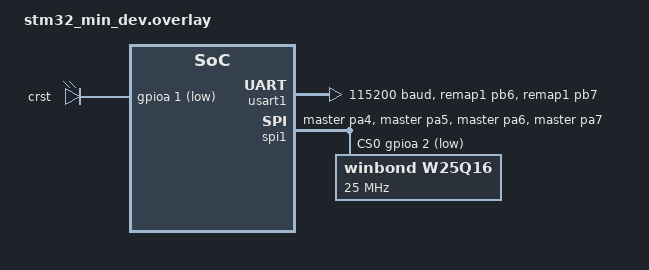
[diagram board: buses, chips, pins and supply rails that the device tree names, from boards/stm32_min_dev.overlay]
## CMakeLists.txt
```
#-------------------------------------------------------------------------------
# Zephyr Example Application
#
# Copyright (c) 2021 Nordic Semiconductor ASA
# SPDX-License-Identifier: Apache-2.0

cmake_minimum_required(VERSION 3.13.1)
find_package(Zephyr REQUIRED HINTS $ENV{ZEPHYR_BASE})

project(app LANGUAGES C)

target_sources(app PRIVATE 
	src/main.c
	src/hid_device.c
	src/usbd_init.c
	src/w25q16_hal.c
)
```

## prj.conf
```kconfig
CONFIG_SPI=y

CONFIG_USB_DEVICE_STACK_NEXT=y
CONFIG_CDC_ACM_SERIAL_INITIALIZE_AT_BOOT=n
CONFIG_USBD_HID_SUPPORT=y
CONFIG_INPUT=y

CONFIG_MAIN_STACK_SIZE=1024
CONFIG_SYSTEM_WORKQUEUE_STACK_SIZE=1024
```

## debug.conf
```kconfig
CONFIG_LOG=y
CONFIG_SERIAL=y
CONFIG_CONSOLE=y
CONFIG_UART_CONSOLE=y
```

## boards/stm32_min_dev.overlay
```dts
/ {
	chosen {
		zephyr,console = &usart1;
		zephyr,shell-uart = &usart1;
		zephyr,osdp-uart = &usart2;
		zephyr,sram = &sram0;
		zephyr,flash = &flash0;
	};

	leds {
		crst: led {
			gpios = <&gpioa 1 GPIO_ACTIVE_LOW>;
		};
	};

	hid_dev_0: hid_dev_0 {
		compatible = "zephyr,hid-device";
		label = "HID0";
		protocol-code = "none";
		in-polling-period-us = <1000>;
		in-report-size = <64>;
	};

};

&clk_hse {
	status="disabled";
};

&clk_hsi {
	status="okay";
};

&pll {
	mul = <12>;
	clocks = <&clk_hsi>;
	status="okay";
	usbpre;
};

&rcc {
	clocks = <&pll>;
	clock-frequency = <DT_FREQ_M(48)>;
};

&usart1 {
	pinctrl-0 = <&usart1_tx_remap1_pb6 &usart1_rx_remap1_pb7>;
	current-speed = <115200>;
	pinctrl-names = "default";
	status = "okay";
};

&spi1 {
	pinctrl-0 = <&spi1_nss_master_pa4 &spi1_sck_master_pa5
		&spi1_miso_master_pa6 &spi1_mosi_master_pa7>;

	pinctrl-names = "default";
	status = "okay";

	cs-gpios = <&gpioa 2 GPIO_ACTIVE_LOW>;

	w25q16: spi-nor-flash@0 {
		compatible = "winbond,w25q16";
		spi-max-frequency = <25000000>;
		reg = <0>;
	};

};
```

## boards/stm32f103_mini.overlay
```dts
&clk_hse {
	status = "disabled";
};

&clk_hsi {
	status = "okay";
};

&pll {
	clocks = <&clk_hsi>;
};
```

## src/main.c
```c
#include <zephyr/device.h>
#include <zephyr/drivers/gpio.h>
#include <zephyr/kernel.h>
#include <zephyr/logging/log.h>
#include <zephyr/usb/usbd.h>

#include "hid_device.h"
#include "usbd_init.h"
#include "w25q16_hal.h"

LOG_MODULE_REGISTER(main);

/* Device tree node labels */
#define RESET_PIN_NODE DT_NODELABEL(crst)
#define FLASH_NODE DT_NODELABEL(w25q16)

/* SPI operation configuration */
#define SPI_OP_CONFIG (SPI_OP_MODE_MASTER | SPI_WORD_SET(8))

/* Timing constants */
#define RESET_PULSE_MS 2
#define IDLE_SLEEP_MS 1000

#if !DT_NODE_HAS_STATUS(FLASH_NODE, okay)
#error "Flash device w25q16 devicetree node not found or disabled"
#endif

/* Static device configurations */
static struct gpio_dt_spec reset_pin = GPIO_DT_SPEC_GET(RESET_PIN_NODE, gpios);
static struct flash_config flash_dev = {
    .dev = SPI_DT_SPEC_GET(FLASH_NODE, SPI_OP_CONFIG),
};

/**
 * @brief Initialize the FPGA reset pin
 *
 * @return 0 on success, negative errno on failure
 */
static int init_reset_pin(void) {
  int err;

  err = gpio_pin_configure_dt(&reset_pin, GPIO_OUTPUT_ACTIVE);
  if (err) {
    LOG_ERR("Failed to configure reset pin: %d", err);
    return err;
  }

  LOG_DBG("Reset pin configured successfully");
  return 0;
}

/**
 * @brief Perform FPGA reset sequence and initialize flash
 */
static void init_flash_device(void) {
  /* Assert reset */
  gpio_pin_set_dt(&reset_pin, 1);
  k_msleep(RESET_PULSE_MS);

  /* Initialize flash communication */
  flash_reset(&flash_dev);
  flash_read_id(&flash_dev);

  /* Release reset */
  gpio_pin_set_dt(&reset_pin, 0);

  LOG_INF("Flash device initialized");
}

/**
 * @brief Initialize USB device subsystem
 *
 * @return Pointer to USB context on success, NULL on failure
 */
static struct usbd_context *init_usb_device(void) {
  struct usbd_context *usbd_ctx;
  int err;

  usbd_ctx = flasher_usbd_init_device(NULL);
  if (!usbd_ctx) {
    LOG_ERR("Failed to initialize USB device");
    return NULL;
  }

  err = usbd_enable(usbd_ctx);
  if (err) {
    LOG_ERR("Failed to enable USB device: %d", err);
    return NULL;
  }

  LOG_INF("USB device enabled");
  return usbd_ctx;
}

int main(void) {
  int err;

  LOG_INF("ICE40 Flasher starting...");

  /* Initialize HID device */
  err = hid_device_init();
  if (err) {
    LOG_ERR("HID initialization failed: %d", err);
    return err;
  }

  /* Initialize and enable USB */
  if (!init_usb_device()) {
    return -EIO;
  }

  /* Initialize reset pin */
  err = init_reset_pin();
  if (err) {
    return err;
  }

  /* Initialize flash device */
  init_flash_device();

  LOG_INF("System ready - HID interface active");

  /* Main idle loop */
  while (1) {
    k_msleep(IDLE_SLEEP_MS);
  }

  return 0;
}
```

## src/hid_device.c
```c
#include "hid_device.h"

#include <zephyr/device.h>
#include <zephyr/logging/log.h>
#include <zephyr/usb/class/usbd_hid.h>

LOG_MODULE_REGISTER(hid_device);

#define REPORT_SIZE_BYTES 64

/* HID Report Descriptor for vendor-defined interface */
static const uint8_t hid_report_desc[] = {
    0x06, 0x00, 0xFF, /* USAGE_PAGE (Vendor Defined 0xFF00) */
    0x09, 0x01,       /* USAGE (Vendor Usage 1) */
    0xA1, 0x01,       /* COLLECTION (Application) */

    /* OUT report: host -> device */
    0x09, 0x02,              /*   USAGE (Vendor Usage 2) */
    0x15, 0x00,              /*   LOGICAL_MINIMUM (0) */
    0x26, 0xFF, 0x00,        /*   LOGICAL_MAXIMUM (255) */
    0x75, 0x08,              /*   REPORT_SIZE (8 bits) */
    0x95, REPORT_SIZE_BYTES, /*   REPORT_COUNT (64 bytes) */
    0x91, 0x02,              /*   OUTPUT (Data,Var,Abs) */

    /* IN report: device -> host */
    0x09, 0x03,              /*   USAGE (Vendor Usage 3) */
    0x15, 0x00,              /*   LOGICAL_MINIMUM (0) */
    0x26, 0xFF, 0x00,        /*   LOGICAL_MAXIMUM (255) */
    0x75, 0x08,              /*   REPORT_SIZE (8 bits) */
    0x95, REPORT_SIZE_BYTES, /*   REPORT_COUNT (64 bytes) */
    0x81, 0x02,              /*   INPUT (Data,Var,Abs) */

    0xC0 /* END_COLLECTION */
};

/**
 * @brief Callback when HID interface becomes ready or not ready
 */
static void hid_iface_ready(const struct device *dev, const bool ready) {
  LOG_INF("HID device %s interface is %s", dev->name,
          ready ? "ready" : "not ready");
}

/**
 * @brief Handle GET_REPORT requests from host
 */
static int hid_get_report(const struct device *dev, const uint8_t type,
                          const uint8_t id, const uint16_t len,
                          uint8_t *const buf) {
  LOG_DBG("Get Report: Type %u ID %u Len %u", type, id, len);
  return 0;
}

/**
 * @brief Handle SET_REPORT requests from host
 */
static int hid_set_report(const struct device *dev, const uint8_t type,
                          const uint8_t id, const uint16_t len,
                          const uint8_t *const buf) {
  LOG_INF("Set Report: Type %u ID %u Len %u", type, id, len);
  LOG_HEXDUMP_INF(buf, len, "HID OUT data:");
  return 0;
}

static const struct hid_device_ops hid_ops = {
    .iface_ready = hid_iface_ready,
    .get_report = hid_get_report,
    .set_report = hid_set_report,
};

int hid_device_init(void) {
  const struct device *hid_dev = DEVICE_DT_GET(DT_NODELABEL(hid_dev_0));
  int err;

  if (!device_is_ready(hid_dev)) {
    LOG_ERR("HID device not ready");
    return -ENODEV;
  }

  err = hid_device_register(hid_dev, hid_report_desc, sizeof(hid_report_desc),
                            &hid_ops);
  if (err) {
    LOG_ERR("Failed to register HID device: %d", err);
    return err;
  }

  LOG_INF("HID device initialized successfully");
  return 0;
}
```

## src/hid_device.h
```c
/**
 * @file hid_device.h
 * @brief HID device configuration and interface for ICE40 Flasher
 */

#ifndef HID_DEVICE_H
#define HID_DEVICE_H

#include <zephyr/usb/class/usbd_hid.h>

/**
 * @brief Initialize and register the HID device
 * 
 * @return 0 on success, negative errno on failure
 */
int hid_device_init(void);

#endif /* HID_DEVICE_H */
```

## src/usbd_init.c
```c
/**
 * @file usbd_init.c
 * @brief USB Device initialization and configuration
 */

#include "usbd_init.h"

#include <stdint.h>
#include <zephyr/device.h>
#include <zephyr/logging/log.h>
#include <zephyr/usb/bos.h>
#include <zephyr/usb/usbd.h>

LOG_MODULE_REGISTER(usbd_config);

/* USB Device Identification */
#define ZEPHYR_PROJECT_USB_VID  0x2FE3
#define ZEPHYR_PROJECT_USB_PID  0x1193

/* Device strings */
#define MANUFACTURER_STRING     "Purple Petina"
#define PRODUCT_STRING          "ICE40DK Programmer"

/* Configuration attributes and power */
#define USB_MAX_POWER_MA        100

/**
 * @brief USB classes to exclude from registration
 * 
 * By default, do not register the DFU mode instance
 */
static const char *const class_blocklist[] = {
	"dfu_dfu",
	NULL,
};

/* Instantiate USB device context */
USBD_DEVICE_DEFINE(flasher_usbd,
		   DEVICE_DT_GET(DT_NODELABEL(zephyr_udc0)),
		   ZEPHYR_PROJECT_USB_VID,
		   ZEPHYR_PROJECT_USB_PID);

/* USB Descriptor definitions */
USBD_DESC_LANG_DEFINE(lang_desc);
USBD_DESC_MANUFACTURER_DEFINE(mfr_desc, MANUFACTURER_STRING);
USBD_DESC_PRODUCT_DEFINE(product_desc, PRODUCT_STRING);

USBD_DESC_CONFIG_DEFINE(fs_cfg_desc, "FS Configuration");
USBD_DESC_CONFIG_DEFINE(hs_cfg_desc, "HS Configuration");

/* Configuration attributes */
static const uint8_t config_attributes =
	(IS_ENABLED(CONFIG_FLASHER_USBD_SELF_POWERED) ? USB_SCD_SELF_POWERED : 0) |
	(IS_ENABLED(CONFIG_FLASHER_USBD_REMOTE_WAKEUP) ? USB_SCD_REMOTE_WAKEUP : 0);

/* USB Configuration definitions */
USBD_CONFIGURATION_DEFINE(fs_config, config_attributes,
			  USB_MAX_POWER_MA, &fs_cfg_desc);

USBD_CONFIGURATION_DEFINE(hs_config, config_attributes,
			  USB_MAX_POWER_MA, &hs_cfg_desc);

/**
 * @brief Set appropriate device class code triple
 *
 * Configures the device class, subclass, and protocol based on
 * enabled USB classes. For multi-interface classes, use the
 * IAD (Interface Association Descriptor) triple.
 *
 * @param uds_ctx USB device context
 * @param speed USB speed (FS or HS)
 */
static void configure_device_class(struct usbd_context *uds_ctx,
				    const enum usbd_speed speed)
{
	/* Use class code from Interface Descriptors for most classes */
	if (IS_ENABLED(CONFIG_USBD_CDC_ACM_CLASS) ||
	    IS_ENABLED(CONFIG_USBD_CDC_ECM_CLASS) ||
	    IS_ENABLED(CONFIG_USBD_CDC_NCM_CLASS) ||
	    IS_ENABLED(CONFIG_USBD_MIDI2_CLASS) ||
	    IS_ENABLED(CONFIG_USBD_AUDIO2_CLASS) ||
	    IS_ENABLED(CONFIG_USBD_VIDEO_CLASS)) {
		/*
		 * Multi-interface classes have Interface Association
		 * Descriptor - use Miscellaneous Device Class triple
		 */
		usbd_device_set_code_triple(uds_ctx, speed,
					    USB_BCC_MISCELLANEOUS, 0x02, 0x01);
	} else {
		/* Use interface-defined class codes */
		usbd_device_set_code_triple(uds_ctx, speed, 0, 0, 0);
	}
}

/**
 * @brief Add descriptors and register USB classes
 *
 * @param msg_cb Optional message callback for USB events
 * @return Pointer to configured USB context, or NULL on failure
 */
static struct usbd_context *setup_usb_device(usbd_msg_cb_t msg_cb)
{
	int err;

	/* Add language descriptor */
	err = usbd_add_descriptor(&flasher_usbd, &lang_desc);
	if (err) {
		LOG_ERR("Failed to add language descriptor: %d", err);
		return NULL;
	}

	/* Add manufacturer descriptor */
	err = usbd_add_descriptor(&flasher_usbd, &mfr_desc);
	if (err) {
		LOG_ERR("Failed to add manufacturer descriptor: %d", err);
		return NULL;
	}

	/* Add product descriptor */
	err = usbd_add_descriptor(&flasher_usbd, &product_desc);
	if (err) {
		LOG_ERR("Failed to add product descriptor: %d", err);
		return NULL;
	}

	/* Configure High-Speed if supported */
	if (USBD_SUPPORTS_HIGH_SPEED &&
	    usbd_caps_speed(&flasher_usbd) == USBD_SPEED_HS) {
		err = usbd_add_configuration(&flasher_usbd, USBD_SPEED_HS,
					     &hs_config);
		if (err) {
			LOG_ERR("Failed to add HS configuration: %d", err);
			return NULL;
		}

		err = usbd_register_all_classes(&flasher_usbd, USBD_SPEED_HS,
						1, class_blocklist);
		if (err) {
			LOG_ERR("Failed to register HS classes: %d", err);
			return NULL;
		}

		configure_device_class(&flasher_usbd, USBD_SPEED_HS);
	}

	/* Configure Full-Speed (always supported) */
	err = usbd_add_configuration(&flasher_usbd, USBD_SPEED_FS, &fs_config);
	if (err) {
		LOG_ERR("Failed to add FS configuration: %d", err);
		return NULL;
	}

	err = usbd_register_all_classes(&flasher_usbd, USBD_SPEED_FS,
					1, class_blocklist);
	if (err) {
		LOG_ERR("Failed to register FS classes: %d", err);
		return NULL;
	}

	configure_device_class(&flasher_usbd, USBD_SPEED_FS);

	/* Configure power mode */
	usbd_self_powered(&flasher_usbd,
			  config_attributes & USB_SCD_SELF_POWERED);

	/* Register optional message callback */
	if (msg_cb != NULL) {
		err = usbd_msg_register_cb(&flasher_usbd, msg_cb);
		if (err) {
			LOG_ERR("Failed to register message callback: %d", err);
			return NULL;
		}
	}

	return &flasher_usbd;
}

struct usbd_context *flasher_usbd_init_device(usbd_msg_cb_t msg_cb)
{
	int err;

	if (setup_usb_device(msg_cb) == NULL) {
		return NULL;
	}

	err = usbd_init(&flasher_usbd);
	if (err) {
		LOG_ERR("Failed to initialize USB device: %d", err);
		return NULL;
	}

	LOG_INF("USB device initialized successfully");
	return &flasher_usbd;
}
```

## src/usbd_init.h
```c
/**
 * @file usbd_init.h
 * @brief USB Device initialization and configuration interface
 */

#ifndef USBD_INIT_H
#define USBD_INIT_H

#include <zephyr/usb/usbd.h>

/**
 * @brief Initialize the USB device with descriptors and configurations
 *
 * Sets up the USB device with manufacturer/product descriptors,
 * configures both Full-Speed and High-Speed (if supported),
 * and registers all required USB classes.
 *
 * @param msg_cb Optional message callback for USB events (can be NULL)
 * @return Pointer to the initialized USB context, or NULL on failure
 */
struct usbd_context *flasher_usbd_init_device(usbd_msg_cb_t msg_cb);

#endif /* USBD_INIT_H */
```

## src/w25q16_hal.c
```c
/**
 * @file w25q16_hal.c
 * @brief Hardware Abstraction Layer for W25Q16 SPI Flash Memory
 */

#include "w25q16_hal.h"

#include <string.h>
#include <zephyr/logging/log.h>

LOG_MODULE_REGISTER(w25q16_hal);

/* W25Q16 Command Set */
#define W25Q16_CMD_RESET_ENABLE        0x66
#define W25Q16_CMD_RESET_DEVICE        0x99
#define W25Q16_CMD_RELEASE_POWER_DOWN  0xAB
#define W25Q16_CMD_POWER_DOWN          0xB9
#define W25Q16_CMD_READ_JEDEC_ID       0x9F
#define W25Q16_CMD_READ_DATA           0x03
#define W25Q16_CMD_PAGE_PROGRAM        0x02
#define W25Q16_CMD_WRITE_ENABLE        0x06
#define W25Q16_CMD_READ_STATUS_REG1    0x05
#define W25Q16_CMD_CHIP_ERASE          0xC7
#define W25Q16_CMD_BLOCK_ERASE_64K     0xD8

/* Status Register Bits */
#define W25Q16_STATUS_BUSY             0x01

/* Timing delays */
#define RESET_DELAY_MS                 10
#define POWER_DOWN_RELEASE_DELAY_MS    1
#define BUSY_POLL_DELAY_MS             1

/* Buffer sizes */
#define JEDEC_ID_SIZE                  3
#define PAGE_WRITE_SIZE                64

int flash_reset(struct flash_config *dev)
{
	int err;
	uint8_t tx_cmd[8] = {0xFF};

	struct spi_buf tx_buf = {
		.buf = tx_cmd,
		.len = sizeof(tx_cmd),
	};
	struct spi_buf_set tx_set = {
		.buffers = &tx_buf,
		.count = 1,
	};

	/* Send dummy bytes to reset SPI interface */
	err = spi_write_dt(&dev->dev, &tx_set);
	if (err) {
		LOG_ERR("Failed to reset SPI interface: %d", err);
		return err;
	}

	k_msleep(RESET_DELAY_MS);

	/* Release from power-down mode */
	uint8_t power_on_cmd = W25Q16_CMD_RELEASE_POWER_DOWN;
	tx_buf.buf = &power_on_cmd;
	tx_buf.len = 1;

	err = spi_write_dt(&dev->dev, &tx_set);
	if (err) {
		LOG_ERR("Failed to release from power down: %d", err);
		return err;
	}

	k_msleep(POWER_DOWN_RELEASE_DELAY_MS);

	LOG_DBG("Flash reset completed");
	return 0;
}

int flash_power_down(struct flash_config *dev)
{
	int err;
	uint8_t tx_cmd = W25Q16_CMD_POWER_DOWN;

	struct spi_buf tx_buf = {
		.buf = &tx_cmd,
		.len = sizeof(tx_cmd),
	};
	struct spi_buf_set tx_set = {
		.buffers = &tx_buf,
		.count = 1,
	};

	err = spi_write_dt(&dev->dev, &tx_set);
	if (err) {
		LOG_ERR("Failed to enter power down: %d", err);
		return err;
	}

	LOG_DBG("Flash entered power-down mode");
	return 0;
}

int flash_read_id(struct flash_config *dev)
{
	int err;
	uint8_t tx_cmd[4] = {W25Q16_CMD_READ_JEDEC_ID, 0, 0, 0};
	uint8_t rx_data[4] = {0};

	struct spi_buf tx_buf = {
		.buf = tx_cmd,
		.len = sizeof(tx_cmd),
	};
	struct spi_buf_set tx_set = {
		.buffers = &tx_buf,
		.count = 1,
	};

	struct spi_buf rx_buf = {
		.buf = rx_data,
		.len = sizeof(rx_data),
	};
	struct spi_buf_set rx_set = {
		.buffers = &rx_buf,
		.count = 1,
	};

	err = spi_transceive_dt(&dev->dev, &tx_set, &rx_set);
	if (err) {
		LOG_ERR("Failed to read JEDEC ID: %d", err);
		return err;
	}

	LOG_INF("JEDEC ID: %02X %02X %02X", rx_data[1], rx_data[2], rx_data[3]);
	return 0;
}

int flash_chip_erase(struct flash_config *dev)
{
	int err;
	uint8_t tx_cmd = W25Q16_CMD_CHIP_ERASE;

	struct spi_buf tx_buf = {
		.buf = &tx_cmd,
		.len = sizeof(tx_cmd),
	};
	struct spi_buf_set tx_set = {
		.buffers = &tx_buf,
		.count = 1,
	};

	err = flash_write_enable(dev);
	if (err) {
		return err;
	}

	err = spi_write_dt(&dev->dev, &tx_set);
	if (err) {
		LOG_ERR("Chip erase failed: %d", err);
		return err;
	}

	LOG_DBG("Chip erase initiated");
	return 0;
}

int flash_block_erase_64k(struct flash_config *dev, uint32_t addr_start)
{
	int err;
	uint8_t tx_cmd[4];

	tx_cmd[0] = W25Q16_CMD_BLOCK_ERASE_64K;
	tx_cmd[1] = (uint8_t)((addr_start >> 16) & 0xFF);
	tx_cmd[2] = (uint8_t)((addr_start >> 8) & 0xFF);
	tx_cmd[3] = (uint8_t)(addr_start & 0xFF);

	struct spi_buf tx_buf = {
		.buf = tx_cmd,
		.len = sizeof(tx_cmd),
	};
	struct spi_buf_set tx_set = {
		.buffers = &tx_buf,
		.count = 1,
	};

	err = flash_write_enable(dev);
	if (err) {
		return err;
	}

	err = spi_write_dt(&dev->dev, &tx_set);
	if (err) {
		LOG_ERR("64KB block erase failed: %d", err);
		return err;
	}

	LOG_DBG("64KB block erase at 0x%06X initiated", addr_start);
	return 0;
}

int flash_wait_busy(struct flash_config *dev)
{
	int err;
	uint8_t tx_cmd[2] = {W25Q16_CMD_READ_STATUS_REG1, 0x00};
	uint8_t rx_data[2] = {0};

	struct spi_buf tx_buf = {
		.buf = tx_cmd,
		.len = sizeof(tx_cmd),
	};
	struct spi_buf_set tx_set = {
		.buffers = &tx_buf,
		.count = 1,
	};

	struct spi_buf rx_buf = {
		.buf = rx_data,
		.len = sizeof(rx_data),
	};
	struct spi_buf_set rx_set = {
		.buffers = &rx_buf,
		.count = 1,
	};

	/* Poll status register until BUSY bit is cleared */
	do {
		err = spi_transceive_dt(&dev->dev, &tx_set, &rx_set);
		if (err) {
			LOG_ERR("Failed to read status register: %d", err);
			return err;
		}
		k_msleep(BUSY_POLL_DELAY_MS);
	} while (rx_data[1] & W25Q16_STATUS_BUSY);

	return 0;
}

int flash_write_enable(struct flash_config *dev)
{
	int err;
	uint8_t tx_cmd = W25Q16_CMD_WRITE_ENABLE;

	struct spi_buf tx_buf = {
		.buf = &tx_cmd,
		.len = sizeof(tx_cmd),
	};
	struct spi_buf_set tx_set = {
		.buffers = &tx_buf,
		.count = 1,
	};

	err = spi_write_dt(&dev->dev, &tx_set);
	if (err) {
		LOG_ERR("Write enable failed: %d", err);
		return err;
	}

	return 0;
}

int flash_write_64bytes(struct flash_config *dev, uint32_t addr,
			const uint8_t *data)
{
	int err;
	uint8_t tx_cmd[4 + PAGE_WRITE_SIZE];

	if (!data) {
		return -EINVAL;
	}

	tx_cmd[0] = W25Q16_CMD_PAGE_PROGRAM;
	tx_cmd[1] = (uint8_t)((addr >> 16) & 0xFF);
	tx_cmd[2] = (uint8_t)((addr >> 8) & 0xFF);
	tx_cmd[3] = (uint8_t)(addr & 0xFF);

	memcpy(&tx_cmd[4], data, PAGE_WRITE_SIZE);

	struct spi_buf tx_buf = {
		.buf = tx_cmd,
		.len = sizeof(tx_cmd),
	};
	struct spi_buf_set tx_set = {
		.buffers = &tx_buf,
		.count = 1,
	};

	err = flash_write_enable(dev);
	if (err) {
		return err;
	}

	err = spi_write_dt(&dev->dev, &tx_set);
	if (err) {
		LOG_ERR("Failed to write 64 bytes at 0x%06X: %d", addr, err);
		return err;
	}

	err = flash_wait_busy(dev);
	if (err) {
		return err;
	}

	LOG_DBG("Wrote 64 bytes at 0x%06X", addr);
	return 0;
}

int flash_read(struct flash_config *dev, uint32_t addr, uint8_t *data,
	       size_t len)
{
	int err;
	uint8_t tx_cmd[4];

	if (!data || len == 0) {
		return -EINVAL;
	}

	tx_cmd[0] = W25Q16_CMD_READ_DATA;
	tx_cmd[1] = (uint8_t)((addr >> 16) & 0xFF);
	tx_cmd[2] = (uint8_t)((addr >> 8) & 0xFF);
	tx_cmd[3] = (uint8_t)(addr & 0xFF);

	struct spi_buf tx_bufs[2] = {
		{
			.buf = tx_cmd,
			.len = sizeof(tx_cmd),
		},
		{
			.buf = NULL,
			.len = len,
		},
	};

	struct spi_buf_set tx_set = {
		.buffers = tx_bufs,
		.count = 2,
	};

	struct spi_buf rx_bufs[2] = {
		{
			.buf = NULL,
			.len = sizeof(tx_cmd),
		},
		{
			.buf = data,
			.len = len,
		},
	};

	struct spi_buf_set rx_set = {
		.buffers = rx_bufs,
		.count = 2,
	};

	err = spi_transceive_dt(&dev->dev, &tx_set, &rx_set);
	if (err) {
		LOG_ERR("Failed to read %zu bytes from 0x%06X: %d",
			len, addr, err);
		return err;
	}

	LOG_DBG("Read %zu bytes from 0x%06X", len, addr);
	return 0;
}
```

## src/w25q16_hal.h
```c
/**
 * @file w25q16_hal.h
 * @brief Hardware Abstraction Layer for W25Q16 SPI Flash Memory
 */

#ifndef W25Q16_HAL_H
#define W25Q16_HAL_H

#include <zephyr/drivers/spi.h>
#include <zephyr/kernel.h>
#include <stdint.h>

/**
 * @brief Flash device configuration structure
 */
struct flash_config {
	struct spi_dt_spec dev;
};

/**
 * @brief Reset the flash device
 * 
 * Sends reset sequence and releases from power-down mode
 * 
 * @param dev Pointer to flash device configuration
 * @return 0 on success, negative errno on failure
 */
int flash_reset(struct flash_config *dev);

/**
 * @brief Enter power-down mode
 * 
 * @param dev Pointer to flash device configuration
 * @return 0 on success, negative errno on failure
 */
int flash_power_down(struct flash_config *dev);

/**
 * @brief Read and display JEDEC ID
 * 
 * @param dev Pointer to flash device configuration
 * @return 0 on success, negative errno on failure
 */
int flash_read_id(struct flash_config *dev);

/**
 * @brief Erase entire chip
 * 
 * @param dev Pointer to flash device configuration
 * @return 0 on success, negative errno on failure
 */
int flash_chip_erase(struct flash_config *dev);

/**
 * @brief Erase a 64KB block
 * 
 * @param dev Pointer to flash device configuration
 * @param addr_start Starting address (must be 64KB aligned)
 * @return 0 on success, negative errno on failure
 */
int flash_block_erase_64k(struct flash_config *dev, uint32_t addr_start);

/**
 * @brief Wait for flash busy flag to clear
 * 
 * @param dev Pointer to flash device configuration
 * @return 0 on success, negative errno on failure
 */
int flash_wait_busy(struct flash_config *dev);

/**
 * @brief Enable write operations
 * 
 * @param dev Pointer to flash device configuration
 * @return 0 on success, negative errno on failure
 */
int flash_write_enable(struct flash_config *dev);

/**
 * @brief Write 64 bytes to flash memory
 * 
 * @param dev Pointer to flash device configuration
 * @param addr Starting address
 * @param data Pointer to data buffer (must be at least 64 bytes)
 * @return 0 on success, negative errno on failure
 */
int flash_write_64bytes(struct flash_config *dev, uint32_t addr,
			const uint8_t *data);

/**
 * @brief Read data from flash memory
 * 
 * @param dev Pointer to flash device configuration
 * @param addr Starting address
 * @param data Pointer to destination buffer
 * @param len Number of bytes to read
 * @return 0 on success, negative errno on failure
 */
int flash_read(struct flash_config *dev, uint32_t addr, uint8_t *data,
	       size_t len);

#endif /* W25Q16_HAL_H */
```
